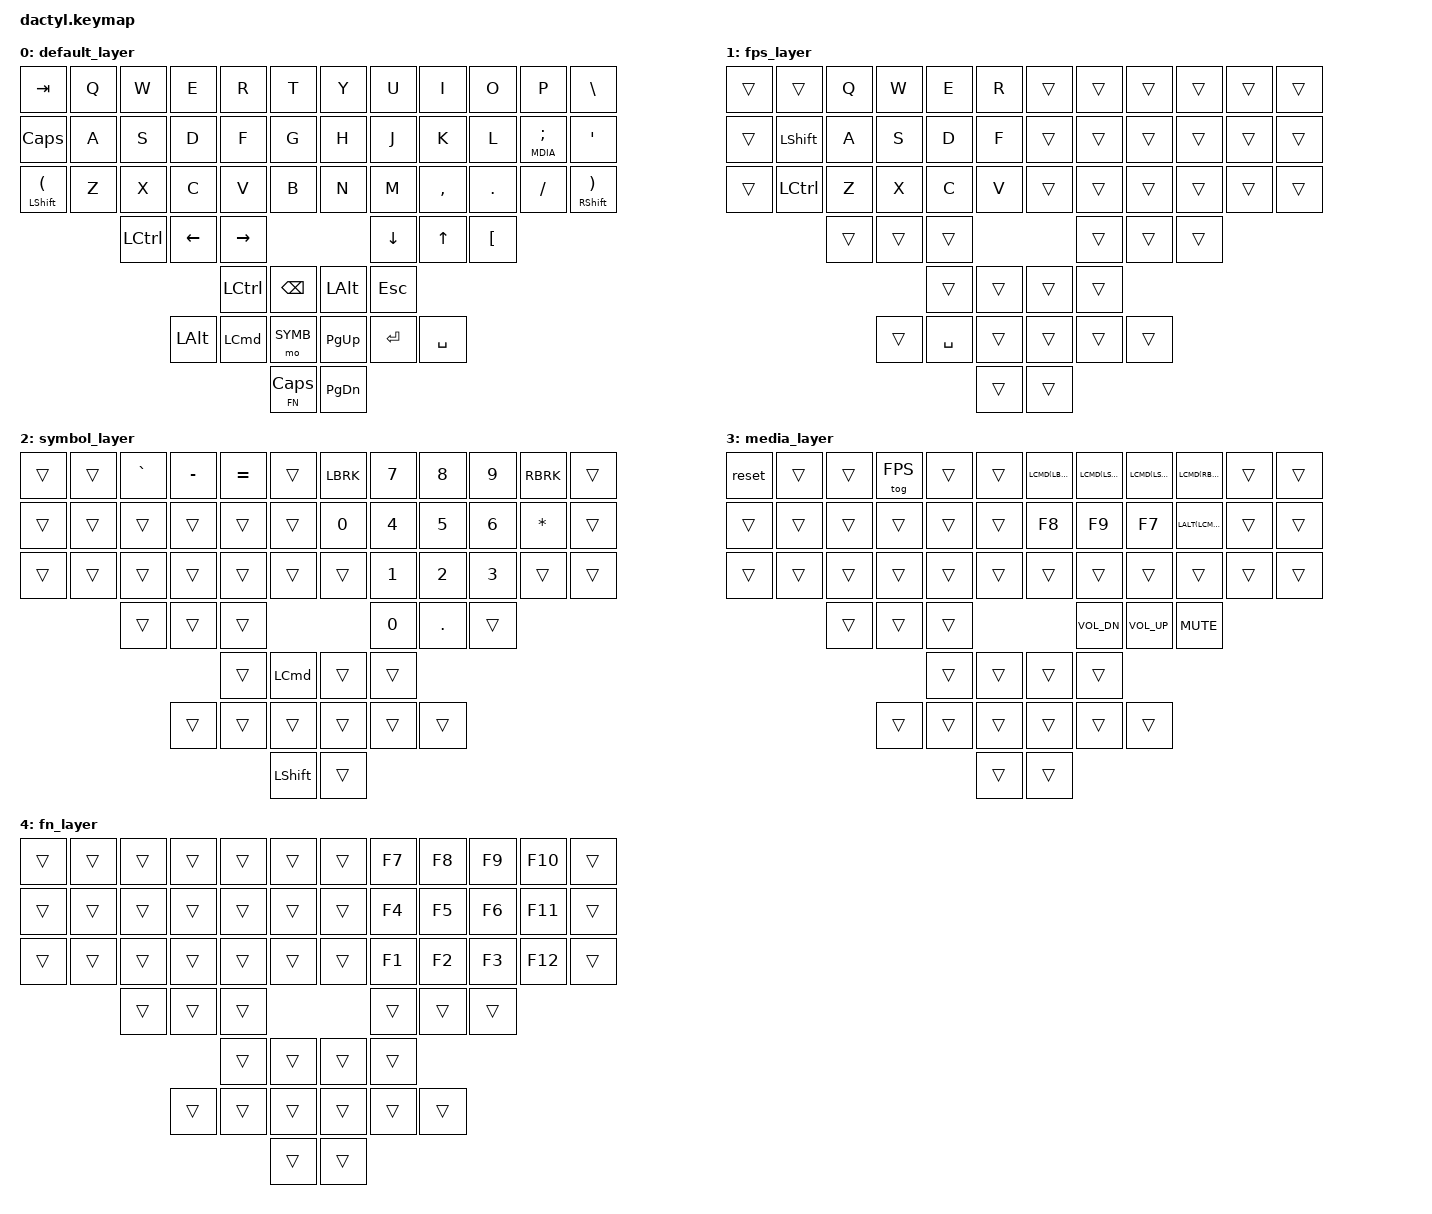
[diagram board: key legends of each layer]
/*
 * Copyright (c) 2020 The ZMK Contributors
 *
 * SPDX-License-Identifier: MIT
 */

#include <behaviors.dtsi>
#include <dt-bindings/zmk/keys.h>
#include <dt-bindings/zmk/bt.h>

#define BASE 0
#define FPS 1
#define SYMB 2
#define MDIA 3
#define FN 4

/ {
    keymap {
        compatible = "zmk,keymap";

        default_layer {
            bindings = <
&kp TAB    &kp Q  &kp W    &kp E    &kp R     &kp T              &kp Y     &kp U     &kp I     &kp O     &kp P     &kp BSLH
&kp CAPS   &kp A  &kp S    &kp D    &kp F     &kp G              &kp H     &kp J     &kp K     &kp L     &lt MDIA SEMI  &kp APOS
&mt LSHFT LPAR  &kp Z  &kp X    &kp C    &kp V     &kp B              &kp N     &kp M     &kp COMMA &kp DOT   &kp FSLH  &mt RSHFT RPAR
                  &kp LCTL &kp LEFT &kp RIGHT                              &kp DOWN  &kp UP    &kp LBKT

                                    &kp LCTL  &kp BSPC           &kp LALT  &kp ESC
                           &kp LALT &kp LCMD  &mo SYMB           &kp PG_UP &kp RET   &kp SPACE
                                              &lt FN CAPS        &kp PG_DN
            >;
        };

        fps_layer {
            bindings = <
&trans    &trans    &kp Q     &kp W     &kp E     &kp R          &trans    &trans    &trans    &trans    &trans    &trans
&trans    &kp LSHFT &kp A     &kp S     &kp D     &kp F          &trans    &trans    &trans    &trans    &trans    &trans
&trans    &kp LCTL  &kp Z     &kp X     &kp C     &kp V          &trans    &trans    &trans    &trans    &trans    &trans
                    &trans    &trans    &trans                             &trans    &trans    &trans

                                        &trans    &trans         &trans    &trans
                              &trans    &kp SPACE &trans         &trans    &trans    &trans
                                                  &trans         &trans
            >;
        };

        symbol_layer {
            bindings = <
&trans    &trans    &kp GRAVE &kp MINUS &kp EQUAL &trans          &kp LBRK  &kp N7    &kp N8    &kp N9    &kp RBRK     &trans
&trans    &trans    &trans    &trans    &trans    &trans          &kp N0    &kp N4    &kp N5    &kp N6    &kp ASTERISK &trans
&trans    &trans    &trans    &trans    &trans    &trans          &trans    &kp N1    &kp N2    &kp N3    &trans       &trans
                    &trans    &trans    &trans                              &kp N0    &kp DOT   &trans

                                        &trans    &kp LCMD        &trans    &trans
                              &trans    &trans    &trans          &trans    &trans    &trans
                                                  &kp LSHFT       &trans
            >;
        };

        media_layer {
            bindings = <
&reset    &trans    &trans    &tog FPS  &trans    &trans          &kp LCMD(LBRK)    &kp LCMD(LSHFT(LBRK))    &kp LCMD(LSHFT(RBRK))   &kp LCMD(RBKT)    &trans    &trans
&trans    &trans    &trans    &trans    &trans    &trans          &kp F8    &kp F9    &kp F7    &kp LALT(LCMD(GRAVE)) &trans    &trans
&trans    &trans    &trans    &trans    &trans    &trans          &trans    &trans    &trans    &trans    &trans    &trans
                    &trans    &trans    &trans                              &kp C_VOL_DN    &kp C_VOL_UP    &kp K_MUTE

                                        &trans    &trans          &trans    &trans
                              &trans    &trans    &trans          &trans    &trans    &trans
                                                  &trans          &trans
            >;
        };

        fn_layer {
            bindings = <
&trans    &trans    &trans    &trans    &trans    &trans          &trans    &kp F7    &kp F8    &kp F9    &kp F10    &trans
&trans    &trans    &trans    &trans    &trans    &trans          &trans    &kp F4    &kp F5    &kp F6    &kp F11    &trans
&trans    &trans    &trans    &trans    &trans    &trans          &trans    &kp F1    &kp F2    &kp F3    &kp F12    &trans
                    &trans    &trans    &trans                              &trans    &trans    &trans

                                        &trans    &trans          &trans    &trans
                              &trans    &trans    &trans          &trans    &trans    &trans
                                                  &trans          &trans
            >;
        };
    };
};
